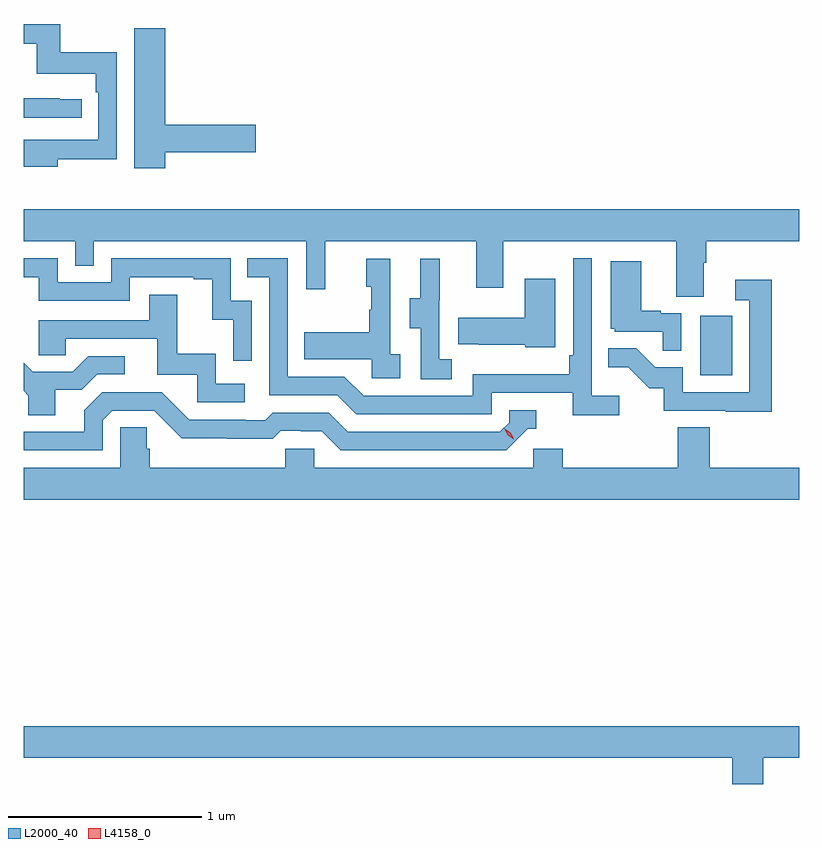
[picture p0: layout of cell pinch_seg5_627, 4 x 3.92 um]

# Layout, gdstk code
import gdstk
lib = gdstk.Library(unit=1e-6, precision=1e-09)
def R(c, l, rs):  # rectangles x0, y0, x1, y1
    for r in rs: c.add(gdstk.rectangle(r[:2], r[2:], *l))
def P(c, l, *ps):  # polygons
    for p in ps: c.add(gdstk.Polygon(p, *l))
L2000_40 = (2000, 40)
L4158_0 = (4158, 0)

pinch_seg5_627 = lib.new_cell('pinch_seg5_627')
R(pinch_seg5_627, L2000_40, [(1061.576,872.052,1061.74,872.359)])
P(pinch_seg5_627, L2000_40, [(1058.263,873.166),(1058.568,873.166),(1058.568,873.718),(1058.275,873.718),(1058.275,873.864),(1058.087,873.864),(1058.087,873.763),(1058.154,873.763),(1058.154,873.608),(1058.459,873.608),(1058.459,873.512),(1058.472,873.512),(1058.472,873.267),(1058.159,873.267),(1058.159,873.268),(1058.087,873.268),(1058.087,873.128),(1058.263,873.128)],
  [(1058.818,873.202),(1059.283,873.202),(1059.283,873.344),(1058.818,873.344),(1058.818,873.841),(1058.657,873.841),(1058.657,873.12),(1058.818,873.12)],
  [(1058.386,873.477),(1058.273,873.477),(1058.273,873.482),(1058.087,873.482),(1058.087,873.381),(1058.386,873.381)],
  [(1058.087,872.744),(1058.352,872.744),(1058.352,872.617),(1058.448,872.617),(1058.448,872.744),(1059.543,872.744),(1059.543,872.496),(1059.641,872.496),(1059.641,872.744),(1060.421,872.744),(1060.421,872.505),(1060.561,872.505),(1060.561,872.744),(1061.453,872.744),(1061.453,872.458),(1061.593,872.458),(1061.593,872.632),(1061.606,872.632),(1061.606,872.744),(1062.087,872.744),(1062.087,872.908),(1058.087,872.908)],
  [(1061.158,871.948),(1061.016,871.948),(1061.016,872.656),(1060.92,872.656),(1060.92,872.155),(1060.9,872.155),(1060.9,872.059),(1060.404,872.059),(1060.404,871.947),(1059.84,871.947),(1059.741,872.046),(1059.45,872.046),(1059.45,872.655),(1059.241,872.655),(1059.241,872.559),(1059.354,872.559),(1059.354,871.95),(1059.704,871.95),(1059.803,871.851),(1060.5,871.851),(1060.5,871.962),(1060.919,871.962),(1060.919,871.846),(1061.158,871.846)],
  [(1059.264,872.436),(1059.156,872.436),(1059.156,872.655),(1058.538,872.655),(1058.538,872.532),(1058.262,872.532),(1058.262,872.655),(1058.087,872.655),(1058.087,872.559),(1058.166,872.559),(1058.166,872.436),(1058.634,872.436),(1058.634,872.559),(1058.963,872.559),(1058.963,872.547),(1059.059,872.547),(1059.059,872.339),(1059.168,872.339),(1059.168,872.127),(1059.264,872.127)],
  [(1060.294,872.135),(1060.23,872.135),(1060.23,872.439),(1060.232,872.439),(1060.232,872.653),(1060.133,872.653),(1060.133,872.451),(1060.079,872.451),(1060.079,872.296),(1060.134,872.296),(1060.134,872.032),(1060.294,872.032)],
  [(1060.03,872.162),(1059.978,872.162),(1059.978,872.653),(1059.854,872.653),(1059.854,872.508),(1059.88,872.508),(1059.88,872.39),(1059.87,872.39),(1059.87,872.275),(1059.535,872.275),(1059.535,872.135),(1059.882,872.135),(1059.882,872.037),(1060.03,872.037)],
  [(1061.478,872.373),(1061.372,872.373),(1061.372,872.386),(1061.272,872.386),(1061.272,872.641),(1061.114,872.641),(1061.114,872.292),(1061.136,872.292),(1061.136,872.277),(1061.383,872.277),(1061.383,872.179),(1061.478,872.179)],
  [(1060.828,872.551),(1060.67,872.551),(1060.67,872.35),(1060.327,872.35),(1060.327,872.213),(1060.435,872.213),(1060.435,872.21),(1060.674,872.21),(1060.674,872.198),(1060.828,872.198)],
  [(1061.945,872.545),(1061.757,872.545),(1061.757,872.439),(1061.829,872.439),(1061.829,871.965),(1061.487,871.965),(1061.487,872.094),(1061.343,872.094),(1061.245,872.192),(1061.101,872.192),(1061.101,872.093),(1061.205,872.093),(1061.312,871.986),(1061.389,871.986),(1061.389,871.869),(1061.707,871.869),(1061.707,871.864),(1061.945,871.864)],
  [(1059.226,872.01),(1059.078,872.01),(1059.078,872.164),(1058.879,872.164),(1058.879,872.467),(1058.735,872.467),(1058.735,872.337),(1058.166,872.337),(1058.166,872.157),(1058.303,872.157),(1058.303,872.241),(1058.777,872.241),(1058.777,872.055),(1058.982,872.055),(1058.982,871.914),(1059.226,871.914)],
  [(1058.251,871.978),(1058.386,871.978),(1058.466,872.058),(1058.608,872.058),(1058.608,872.151),(1058.42,872.151),(1058.339,872.07),(1058.133,872.07),(1058.087,872.116),(1058.087,871.972),(1058.111,871.948),(1058.111,871.846),(1058.251,871.846)],
  [(1058.496,871.821),(1058.544,871.869),(1058.76,871.869),(1058.902,871.727),(1059.138,871.727),(1059.138,871.725),(1059.371,871.725),(1059.413,871.767),(1059.516,871.767),(1059.516,871.764),(1059.623,871.764),(1059.722,871.665),(1060.575,871.665),(1060.686,871.776),(1060.729,871.776),(1060.729,871.872),(1060.59,871.872),(1060.59,871.809),(1060.542,871.761),(1059.759,871.761),(1059.66,871.86),(1059.371,871.86),(1059.332,871.821),(1059.233,871.821),(1059.233,871.824),(1058.94,871.824),(1058.799,871.965),(1058.493,871.965),(1058.399,871.871),(1058.399,871.761),(1058.087,871.761),(1058.087,871.665),(1058.496,871.665)],
  [(1062.087,871.576),(1061.624,871.576),(1061.624,871.784),(1061.459,871.784),(1061.459,871.576),(1060.868,871.576),(1060.868,871.674),(1060.716,871.674),(1060.716,871.576),(1059.585,871.576),(1059.585,871.674),(1059.435,871.674),(1059.435,871.576),(1058.738,871.576),(1058.738,871.674),(1058.723,871.674),(1058.723,871.784),(1058.586,871.784),(1058.586,871.576),(1058.087,871.576),(1058.087,871.412),(1062.087,871.412)],
  [(1061.901,870.08),(1062.087,870.08),(1062.087,870.244),(1058.087,870.244),(1058.087,870.08),(1061.741,870.08),(1061.741,869.945),(1061.901,869.945)])
P(pinch_seg5_627, L4158_0, [(1060.615,871.724),(1060.584,871.744),(1060.568,871.776),(1060.568,871.777),(1060.568,871.777),(1060.599,871.757),(1060.615,871.725),(1060.615,871.724)])

lib.write_gds('pinch_seg5_627.gds')
